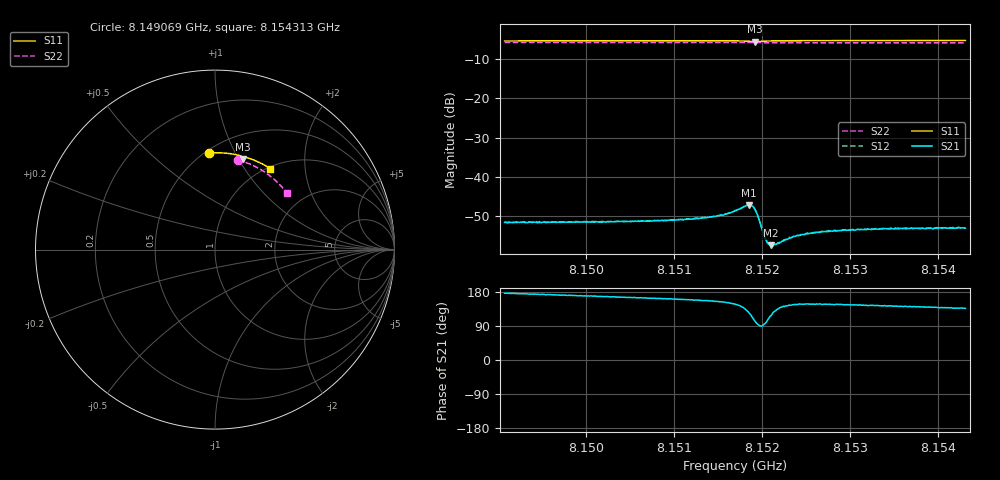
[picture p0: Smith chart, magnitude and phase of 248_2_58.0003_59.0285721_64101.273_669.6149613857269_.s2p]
#  HZ  S  RI  R  50.00
! Rohde & Schwarz Vector Network Analyzer
! Rohde-Schwarz,ZNB20-2Port,1311601062101988,3.16
! Created: UTC 3/21/2024, 1:01:21 AM
! freq[Hz]  re:S11  im:S11  re:S21  im:S21  re:S12  im:S12  re:S22  im:S22
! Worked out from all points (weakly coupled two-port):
!   401 points, 8.149069 GHz to 8.154313 GHz, reference 50 ohm
!   highest |S21| = -47.15 dB at 8.151848 GHz (marker M1); lowest = -57.4 dB at 8.152097 GHz (marker M2)
!   lowest |S11| = -5.5 dB at 8.151914 GHz (marker M3), VSWR 3.24, Z = 37.3 + j52.2 ohm
!   |S11| at or under -10 dB: nowhere
!   |S22| runs from -5.9 to -5.7 dB; largest |S21 - S12| = 0.00014
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8.1490695e9  -0.0351 0.5372  -0.00263 0.000178  -0.00266 0.000235  0.1277 0.5
8.1499477e9  0.0263 0.5392  -0.00262 0.000482  -0.00261 0.000553  0.1817 0.482
8.1508259e9  0.0875 0.534  -0.00263 0.000858  -0.00266 0.000902  0.2332 0.4582
8.1512061e9  0.1142 0.5295  -0.00271 0.00105  -0.00272 0.00113  0.2547 0.446
8.1514158e9  0.1291 0.526  -0.00281 0.00127  -0.00282 0.00131  0.2662 0.4389
8.1515731e9  0.1408 0.5227  -0.00297 0.00151  -0.00293 0.00159  0.2747 0.4334
8.151691e9  0.1497 0.5189  -0.00309 0.00197  -0.00312 0.00207  0.2811 0.4291
8.1518483e9  0.1593 0.5084  -0.00253 0.00359  -0.0025 0.00366  0.2892 0.423
8.1518746e9  0.1588 0.506  -0.00201 0.00383  -0.00195 0.00393  0.2904 0.4221
8.1519139e9  0.1564 0.5045  -0.000928 0.0038  -0.000874 0.00382  0.2922 0.4206
8.1519532e9  0.1547 0.5064  -0.000188 0.00311  -0.000128 0.00316  0.2941 0.4194
8.1520318e9  0.1587 0.512  -0.000167 0.00165  -0.000151 0.00166  0.2983 0.4165
8.1520581e9  0.1608 0.5128  -0.000348 0.00142  -0.000343 0.00142  0.2997 0.4157
8.1520974e9  0.1646 0.5134  -0.000599 0.0012  -0.00061 0.00121  0.3018 0.4142
8.1521367e9  0.1681 0.5134  -0.000843 0.00108  -0.000836 0.00111  0.3037 0.4128
8.152176e9  0.1713 0.513  -0.001 0.00103  -0.000985 0.00104  0.3057 0.4111
8.1522809e9  0.1797 0.5113  -0.00127 0.000967  -0.00129 0.000953  0.3111 0.407
8.1523727e9  0.1865 0.5096  -0.00146 0.000957  -0.00142 0.00099  0.3157 0.4033
8.1525693e9  0.2004 0.5051  -0.00161 0.00103  -0.00163 0.00107  0.3254 0.3953
8.1529232e9  0.2237 0.496  -0.00174 0.00118  -0.00173 0.00122  0.3422 0.3801
8.1534475e9  0.2571 0.4807  -0.00173 0.00132  -0.00172 0.00133  0.3658 0.3565
8.1543126e9  0.309 0.4506  -0.0016 0.00154  -0.0016 0.00157  0.401 0.3144
